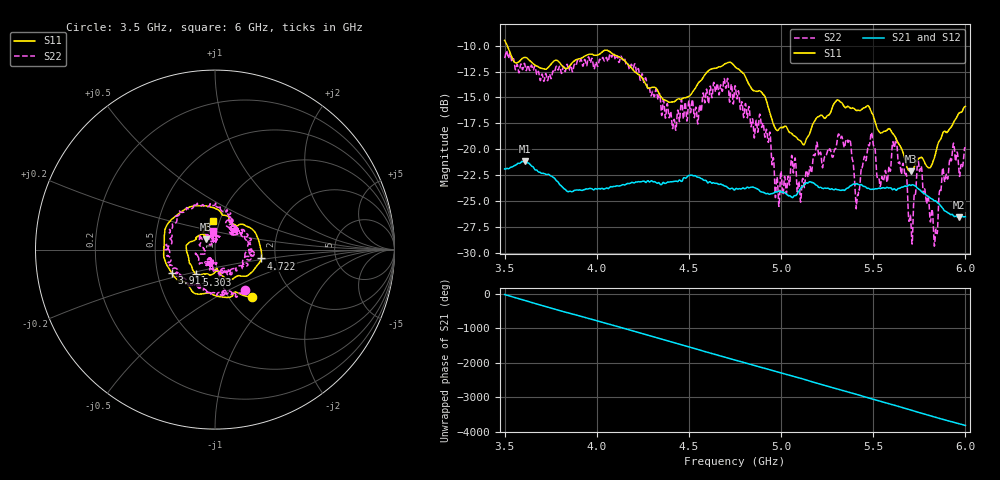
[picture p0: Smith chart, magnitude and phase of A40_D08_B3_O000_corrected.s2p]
! Created with skrf 1.9.0 (http://scikit-rf.org).
# Hz S RI R 50.0
!freq ReS11 ImS11 ReS21 ImS21 ReS12 ImS12 ReS22 ImS22
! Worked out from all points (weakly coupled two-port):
!   1601 points, 3.5 GHz to 6 GHz, reference 50 ohm
!   highest |S21| = -21.16 dB at 3.609 GHz (marker M1); lowest = -26.5 dB at 5.967 GHz (marker M2)
!   lowest |S11| = -22.1 dB at 5.705 GHz (marker M3), VSWR 1.17, Z = 44.7 + j5.21 ohm
!   |S11| at or under -10 dB: 3.514 GHz to end of sweep
!   |S22| runs from -29.3 to -10.5 dB; largest |S21 - S12| = 0.0011
!   S11 on the Smith chart (normalised r, x): 3.5 GHz: 1.27, -0.75; 3.911 GHz: 0.59, -0.17; 4.722 GHz: 1.68, -0.18; 5.303 GHz: 0.78, -0.22; 6 GHz: 0.93, +0.31
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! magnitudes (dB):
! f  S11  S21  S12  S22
! 3.5 GHz  -9.5  -21.9  -21.9  -11.1
! 3.609 GHz  -11.1  -21.2  -21.2  -11.8
! 3.911 GHz  -11.2  -23.9  -23.9  -11.4
! 3.917 GHz  -11.2  -24.0  -24.0  -11.4
! 4.334 GHz  -14.5  -23.2  -23.2  -15.1
! 4.722 GHz  -11.6  -23.8  -23.8  -15.4
! 4.75 GHz  -12.0  -23.9  -23.8  -13.9
! 4.931 GHz  -16.0  -24.3  -24.2  -19.3
! 4.98 GHz  -18.2  -24.1  -24.1  -22.8
! 5.167 GHz  -17.8  -23.2  -23.2  -22.1
! 5.303 GHz  -15.3  -23.9  -23.8  -19.3
! 5.369 GHz  -15.9  -23.6  -23.6  -19.1
! 5.412 GHz  -16.3  -23.3  -23.3  -24.7
! 5.484 GHz  -16.2  -23.9  -23.8  -18.9
! 5.584 GHz  -18.0  -23.7  -23.7  -21.8
! 5.619 GHz  -18.8  -23.9  -23.9  -19.4
! 5.705 GHz  -22.1  -23.5  -23.4  -27.1
! 5.748 GHz  -20.9  -23.9  -23.8  -21.8
! 5.838 GHz  -20.5  -25.0  -24.9  -27.8
! 5.872 GHz  -18.7  -25.6  -25.5  -22.9
! 5.967 GHz  -16.5  -26.5  -26.5  -22.6
! 6 GHz  -15.9  -26.5  -26.5  -19.9
